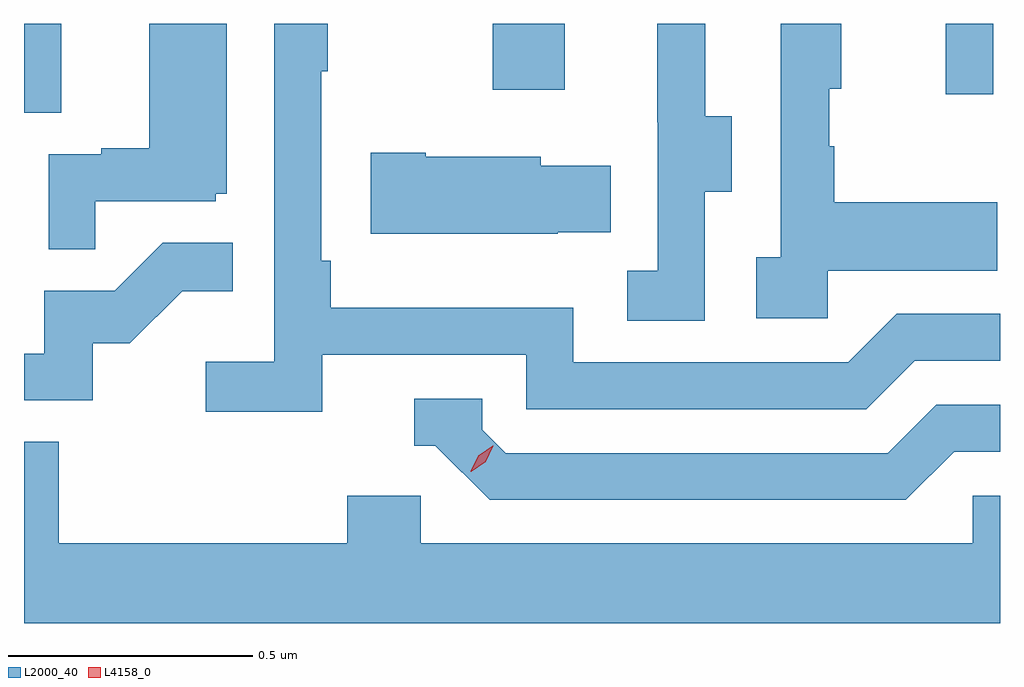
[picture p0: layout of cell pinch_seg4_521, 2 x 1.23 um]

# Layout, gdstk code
import gdstk
lib = gdstk.Library(unit=1e-6, precision=1e-09)
def R(c, l, rs):  # rectangles x0, y0, x1, y1
    for r in rs: c.add(gdstk.rectangle(r[:2], r[2:], *l))
def P(c, l, *ps):  # polygons
    for p in ps: c.add(gdstk.Polygon(p, *l))
L2000_40 = (2000, 40)
L4158_0 = (4158, 0)

pinch_seg4_521 = lib.new_cell('pinch_seg4_521')
R(pinch_seg4_521, L2000_40, [(998.475,752.578,998.551,752.761), (1000.364,752.616,1000.461,752.761), (999.436,752.625,999.583,752.761)])
P(pinch_seg4_521, L2000_40, [(998.621,752.397),(998.868,752.397),(998.868,752.412),(998.89,752.412),(998.89,752.761),(998.732,752.761),(998.732,752.506),(998.633,752.506),(998.633,752.493),(998.526,752.493),(998.526,752.299),(998.621,752.299)],
  [(999.87,752.416),(999.925,752.416),(999.925,752.571),(999.871,752.571),(999.871,752.761),(999.773,752.761),(999.773,752.559),(999.774,752.559),(999.774,752.255),(999.711,752.255),(999.711,752.152),(999.87,752.152)],
  [(999.086,752.082),(999.504,752.082),(999.504,751.971),(1000.201,751.971),(1000.3,752.07),(1000.475,752.07),(1000.475,752.166),(1000.263,752.166),(1000.164,752.067),(999.6,752.067),(999.6,752.179),(999.104,752.179),(999.104,752.275),(999.084,752.275),(999.084,752.663),(999.097,752.663),(999.097,752.761),(998.988,752.761),(998.988,752.068),(998.847,752.068),(998.847,751.966),(999.086,751.966)],
  [(1000.122,752.255),(1000.469,752.255),(1000.469,752.395),(1000.135,752.395),(1000.135,752.51),(1000.125,752.51),(1000.125,752.628),(1000.15,752.628),(1000.15,752.761),(1000.026,752.761),(1000.026,752.282),(999.975,752.282),(999.975,752.157),(1000.122,752.157)],
  [(999.569,752.333),(999.677,752.333),(999.677,752.47),(999.534,752.47),(999.534,752.488),(999.298,752.488),(999.298,752.496),(999.186,752.496),(999.186,752.33),(999.569,752.33)],
  [(998.616,752.106),(998.692,752.106),(998.799,752.213),(998.903,752.213),(998.903,752.312),(998.759,752.312),(998.661,752.214),(998.517,752.214),(998.517,752.085),(998.475,752.085),(998.475,751.989),(998.616,751.989)],
  [(1000.381,751.884),(1000.475,751.884),(1000.475,751.98),(1000.344,751.98),(1000.245,751.881),(999.462,751.881),(999.414,751.929),(999.414,751.992),(999.275,751.992),(999.275,751.896),(999.318,751.896),(999.429,751.785),(1000.282,751.785)],
  [(1000.475,751.794),(1000.419,751.794),(1000.419,751.696),(999.288,751.696),(999.288,751.794),(999.137,751.794),(999.137,751.696),(998.546,751.696),(998.546,751.904),(998.475,751.904),(998.475,751.532),(1000.475,751.532)])
P(pinch_seg4_521, L4158_0, [(999.39,751.843),(999.39,751.844),(999.406,751.876),(999.436,751.896),(999.437,751.896),(999.437,751.896),(999.421,751.863),(999.391,751.843)])

lib.write_gds('pinch_seg4_521.gds')
